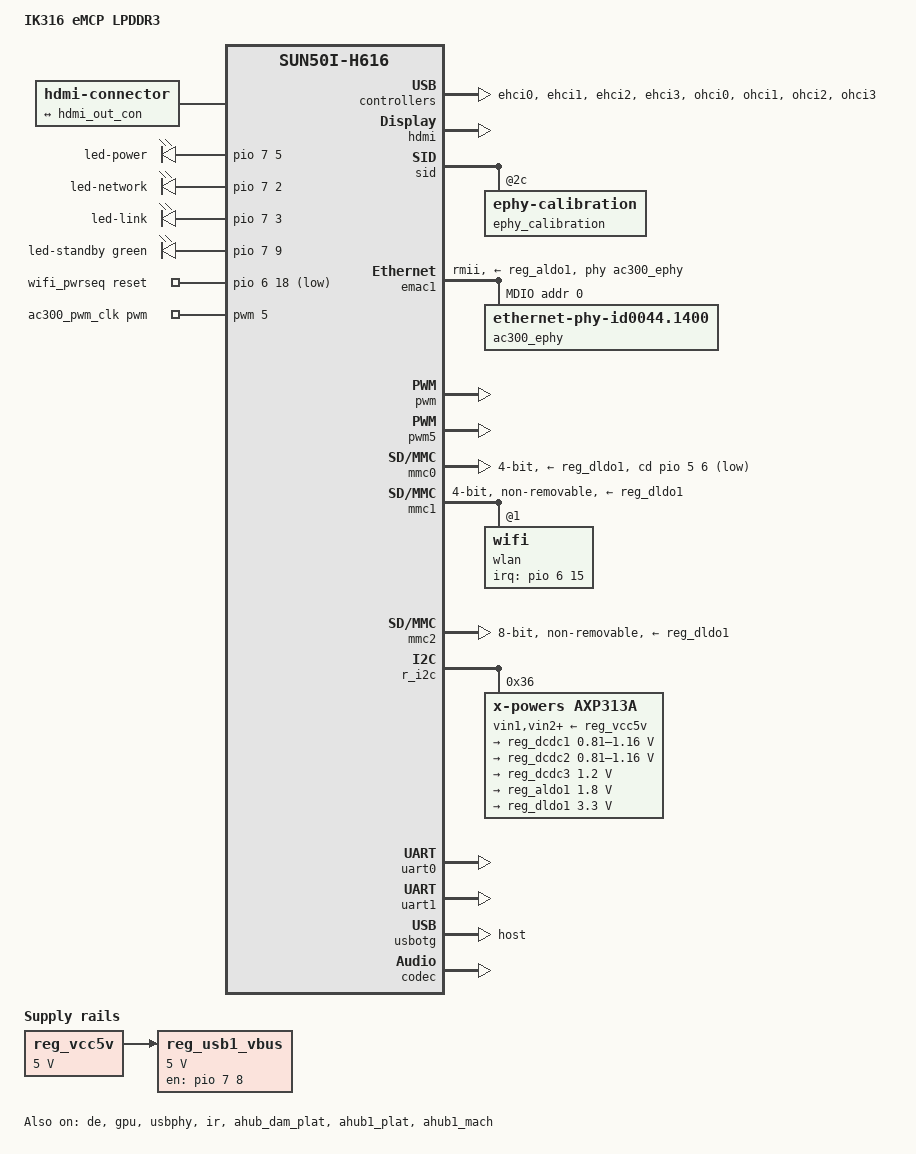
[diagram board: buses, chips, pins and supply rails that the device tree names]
// SPDX-License-Identifier: (GPL-2.0+ OR MIT)
/*
 * IK316 eMCP uses an H616 SoC.
 * The board has 1 GiB LPDDR3 and 8 GiB eMMC.
 * Pins and regulators come from the stock Android DTB.
 * AXP1530 in that DTB is the AXP313A.
 * PH6 and PH7 drive the FD655 panel.
 * Leave both pins free.
 */

/dts-v1/;

#include "sun50i-h616.dtsi"
#include "sun50i-h313-cpu-opp.dtsi"

#include <dt-bindings/gpio/gpio.h>
#include <dt-bindings/interrupt-controller/arm-gic.h>
#include <dt-bindings/leds/common.h>

/ {
	model = "IK316 eMCP LPDDR3";
	compatible = "ik,ik316", "allwinner,sun50i-h616";

	aliases {
		mmc0 = &mmc0;
		mmc1 = &mmc1;
		mmc2 = &mmc2;
		ethernet0 = &emac1;
		ethernet1 = &wlan;
		serial0 = &uart0;
	};

	chosen {
		stdout-path = "serial0:115200n8";
	};

	connector {
		compatible = "hdmi-connector";
		type = "d";

		port {
			hdmi_con_in: endpoint {
				remote-endpoint = <&hdmi_out_con>;
			};
		};
	};

	leds {
		compatible = "gpio-leds";

		led-power {
			function = LED_FUNCTION_POWER;
			gpios = <&pio 7 5 GPIO_ACTIVE_HIGH>; /* PH5 */
			default-state = "on";
		};

		led-network {
			function = LED_FUNCTION_LAN;
			gpios = <&pio 7 2 GPIO_ACTIVE_HIGH>; /* PH2 */
		};

		led-link {
			function = LED_FUNCTION_ACTIVITY;
			gpios = <&pio 7 3 GPIO_ACTIVE_HIGH>; /* PH3 */
		};

		led-standby {
			function = LED_FUNCTION_STANDBY;
			color = <LED_COLOR_ID_GREEN>;
			gpios = <&pio 7 9 GPIO_ACTIVE_HIGH>; /* PH9 */
		};
	};

	reg_vcc5v: vcc5v {
		compatible = "regulator-fixed";
		regulator-name = "vcc-5v";
		regulator-min-microvolt = <5000000>;
		regulator-max-microvolt = <5000000>;
		regulator-always-on;
	};

	reg_usb1_vbus: usb1-vbus {
		compatible = "regulator-fixed";
		regulator-name = "usb1-vbus";
		regulator-min-microvolt = <5000000>;
		regulator-max-microvolt = <5000000>;
		vin-supply = <&reg_vcc5v>;
		gpio = <&pio 7 8 GPIO_ACTIVE_HIGH>; /* PH8 */
		enable-active-high;
	};

	wifi_pwrseq: wifi-pwrseq {
		compatible = "mmc-pwrseq-simple";
		pinctrl-names = "default";
		pinctrl-0 = <&x32clk_fanout_pin>; /* PG10 */
		clocks = <&rtc 1>;
		clock-names = "ext_clock";
		reset-gpios = <&pio 6 18 GPIO_ACTIVE_LOW>; /* PG18 */
		post-power-on-delay-ms = <200>;
	};

	ac300_pwm_clk: ac300-clk {
		compatible = "pwm-clock";
		#clock-cells = <0>;
		/* 500 ns period gives 2 MHz. */
		pwms = <&pwm 5 500 0>;
		clock-frequency = <2000000>;
		status = "okay";
	};
};

&cpu0 {
	cpu-supply = <&reg_dcdc2>;
	status = "okay";
};

&de {
	status = "okay";
};

&ehci0 {
	status = "okay";
};

&ehci1 {
	status = "okay";
};

&ehci2 {
	status = "okay";
};

&ehci3 {
	status = "okay";
};

&hdmi {
	hvcc-supply = <&reg_aldo1>;
	status = "okay";
};

&hdmi_out {
	hdmi_out_con: endpoint {
		remote-endpoint = <&hdmi_con_in>;
	};
};

&sid {
	ephy_calibration: ephy-calibration@2c {
		reg = <0x2c 0x2>;
	};
};

&gpu {
	mali-supply = <&reg_dcdc1>;
	status = "okay";
};

&emac1 {
	compatible = "allwinner,sun50i-h616-internal-emac";
	pinctrl-names = "default";
	pinctrl-0 = <&rmii_pins>;
	phy-mode = "rmii";
	phy-handle = <&ac300_ephy>;
	phy-supply = <&reg_aldo1>;
	allwinner,rx-delay-ps = <3100>;
	allwinner,tx-delay-ps = <700>;
	status = "okay";

	mdio-mux {
		compatible = "allwinner,sun8i-h3-mdio-mux";
		#address-cells = <1>;
		#size-cells = <0>;
		mdio-parent-bus = <&mdio1>;

		internal_mdio: mdio@1 {
			compatible = "allwinner,sun8i-h3-mdio-internal";
			reg = <1>;
			#address-cells = <1>;
			#size-cells = <0>;

			ac300_ephy: ethernet-phy@0 {
				compatible = "ethernet-phy-id0044.1400",
					     "allwinner,sun50i-h618-ac300-ephy",
					     "ethernet-phy-ieee802.3-c22";
				reg = <0>;
				clocks = <&ccu CLK_EMAC_25M>, <&ac300_pwm_clk>;
				clock-names = "ephy", "pwm";
				nvmem-cells = <&ephy_calibration>;
				nvmem-cell-names = "calibration";
				status = "okay";
			};
		};
	};
};

&mdio1 {
	compatible = "snps,dwmac-mdio";
};

&pwm {
	status = "okay";
};

&pwm5 {
	pinctrl-names = "default";
	pinctrl-0 = <&pwm5_pin>;
	clk_bypass_output = <0x1>;
	status = "okay";
};

&mmc0 {
	vmmc-supply = <&reg_dldo1>;
	cd-gpios = <&pio 5 6 GPIO_ACTIVE_LOW>; /* PF6 */
	bus-width = <4>;
	status = "okay";
};

/* SV6256P SDIO Wi-Fi. The driver is ssv6x5x. Keep this power sequence. */
&mmc1 {
	vmmc-supply = <&reg_dldo1>;
	vqmmc-supply = <&reg_dldo1>;
	mmc-pwrseq = <&wifi_pwrseq>;
	bus-width = <4>;
	non-removable;
	status = "okay";

	wlan: wifi@1 {
		reg = <1>;
		interrupt-parent = <&pio>;
		interrupts = <6 15 IRQ_TYPE_EDGE_RISING>; /* PG15 */
		interrupt-names = "host-wake";
	};
};

&mmc2 {
	vmmc-supply = <&reg_dldo1>;
	bus-width = <8>;
	non-removable;
	cap-mmc-hw-reset;
	status = "okay";
};

&ohci0 {
	status = "okay";
};

&ohci1 {
	status = "okay";
};

&ohci2 {
	status = "okay";
};

&ohci3 {
	status = "okay";
};

&r_i2c {
	status = "okay";

	axp313a: pmic@36 {
		compatible = "x-powers,axp313a";
		reg = <0x36>;
		wakeup-source;
		vin1-supply = <&reg_vcc5v>;
		vin2-supply = <&reg_vcc5v>;
		vin3-supply = <&reg_vcc5v>;

		regulators {
			reg_dcdc1: dcdc1 {
				regulator-always-on;
				regulator-min-microvolt = <810000>;
				regulator-max-microvolt = <1160000>;
				regulator-name = "vdd-gpu";
			};

			reg_dcdc2: dcdc2 {
				regulator-always-on;
				regulator-min-microvolt = <810000>;
				regulator-max-microvolt = <1160000>;
				regulator-name = "vdd-cpu";
			};

			reg_dcdc3: dcdc3 {
				regulator-always-on;
				regulator-min-microvolt = <1200000>;
				regulator-max-microvolt = <1200000>;
				regulator-name = "vdd-dram";
			};

			reg_aldo1: aldo1 {
				regulator-always-on;
				regulator-min-microvolt = <1800000>;
				regulator-max-microvolt = <1800000>;
				regulator-name = "vcc1v8";
			};

			reg_dldo1: dldo1 {
				regulator-always-on;
				regulator-min-microvolt = <3300000>;
				regulator-max-microvolt = <3300000>;
				regulator-name = "vcc3v3";
			};
		};
	};
};

&uart0 {
	pinctrl-names = "default";
	pinctrl-0 = <&uart0_ph_pins>;
	status = "okay";
};

&uart1 {
	pinctrl-names = "default";
	pinctrl-0 = <&uart1_pins>, <&uart1_rts_cts_pins>;
	uart-has-rtscts;
	status = "okay";
};

&usbotg {
	dr_mode = "host";
	status = "okay";
};

&usbphy {
	usb1_vbus-supply = <&reg_usb1_vbus>;
	status = "okay";
};

&ir {
	linux,rc-map-name = "rc-beelink-gs1";
	status = "okay";
};

&codec {
	allwinner,audio-routing =
		"Line Out", "LINEOUT";
	status = "okay";
};

&ahub_dam_plat {
	status = "okay";
};

&ahub1_plat {
	status = "okay";
};

&ahub1_mach {
	status = "okay";
};
